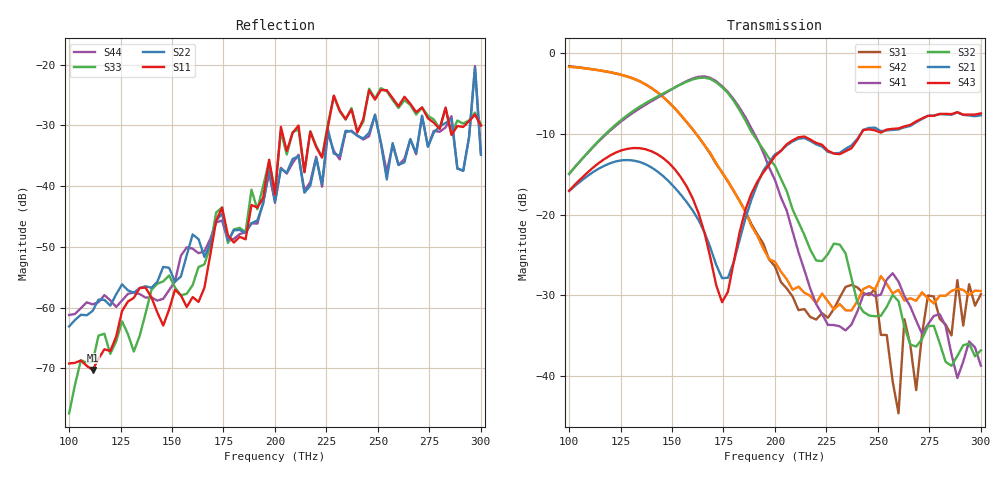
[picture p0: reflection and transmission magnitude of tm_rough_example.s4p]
!This S-parameter file was generated as part of the OIDT. This project was completed as part of research conducted with my major professor and advisor, Prof. Ata Zadehgol, at the Applied and Computational Electromagnetics Signal and Power Integrity (ACEM-SPI) Lab while working toward the Ph.D. in El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
!Created with skrf (http://scikit-rf.org).
# Hz S RI R 50.0
!freq ReS11 ImS11 ReS12 ImS12 ReS13 ImS13
! ReS14 ImS14
! ReS21 ImS21 ReS22 ImS22 ReS23 ImS23
! ReS24 ImS24
! ReS31 ImS31 ReS32 ImS32 ReS33 ImS33
! ReS34 ImS34
! ReS41 ImS41 ReS42 ImS42 ReS43 ImS43
! ReS44 ImS44
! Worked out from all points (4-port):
!   71 points, 100 THz to 300.1 THz, reference 50 ohm
!   strongest paths, dB at 100 THz, 148.6 THz, 200 THz, 251.5 THz, 300.1 THz:
!     S43: -17.0, -13.6, -12.8, -9.9, -7.5
!     S21: -17.1, -15.9, -12.6, -9.7, -7.7
!     S32: -15.0, -4.6, -14.0, -32.5, -36.8
!     S41: -15.0, -4.7, -15.7, -29.9, -38.7
!     S42: -1.7, -6.1, -25.8, -27.6, -29.4
!     S31: -1.7, -6.2, -26.4, -34.9, -29.8
!   lowest |S11| = -70.3 dB at 111.4 THz (marker M1), VSWR 1.00, Z = 50 + j0.0271 ohm
!   |S11| at or under -10 dB: start of sweep to end of sweep
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1.000168e14  -0.000148 0.000313  0.1366 -0.00144  0.8216 -0.0465  0.1637 -0.0017
             0.1397 -0.00255  -0.000108 0.000691  0.1681 -0.00265  0.8206 -0.038
             0.8265 -0.0263  0.1781 -0.00268  -4.24e-05 0.000128  0.1395 -0.00236
             0.1787 -0.00108  0.8184 -0.029  0.1405 -0.000654  -0.000388 0.000777
1.114472e14  -0.000144 0.000271  0.1767 0.000856  0.8222 -0.0375  0.2455 -0.000895
             0.1823 -0.00163  -0.00017 0.000923  0.2547 -0.00366  0.8125 -0.0378
             0.791 -0.00337  0.261 -0.000577  -0.000191 0.000302  0.1939 -0.00243
             0.2595 0.00195  0.7902 -0.00835  0.1942 0.000195  -0.000581 0.000889
1.743149e14  -0.00646 0.00151  0.0206 -0.000175  0.1927 -0.00679  0.6186 0.00287
             0.0405 -0.000101  -0.00511 0.00302  0.6412 0.000433  0.1939 0.00761
             0.1824 -0.0142  0.6134 0.00261  -0.0064 0.0019  0.0362 -0.00185
             0.6221 7.41e-05  0.1816 -0.00501  0.0287 0.000695  -0.00438 0.00282
2.457555e14  -0.0599 0.0132  0.3593 -0.00844  0.0214 0.017  0.0175 0.00211
             0.3435 -0.00541  -0.0262 0.00827  0.0151 -0.00106  0.0261 0.00451
             0.0297 0.0112  0.0238 -0.00042  -0.0618 0.0131  0.3519 -0.00973
             0.0326 -0.00211  0.0332 0.0141  0.3364 -0.00597  -0.0244 0.00817
2.543283e14  -0.0592 0.0168  0.3256 -0.00702  -0.000149 0.00284  0.0461 0.000237
             0.3314 -0.00577  -0.007 0.0089  0.0226 -0.000995  0.0273 -0.00809
             0.0171 -0.0057  0.0269 -0.000172  -0.0579 0.0164  0.3333 -0.0067
             0.0396 -0.00106  0.0369 0.00484  0.3354 -0.00665  -0.00958 0.00892
2.971927e14  -0.0371 0.011  0.3993 -0.00804  0.0203 0.0188  0.0338 -0.000731
             0.4051 -0.0082  -0.0938 0.00628  0.0145 0.000645  0.0283 -0.00231
             0.026 0.00851  0.0133 -0.00011  -0.0387 0.0108  0.4051 -0.00846
             0.0151 0.000183  0.0337 -0.00268  0.4147 -0.00867  -0.0967 0.00653
3.000503e14  -0.0303 0.00835  0.4037 -0.00844  0.024 -0.0154  0.0331 -0.000804
             0.4111 -0.00832  -0.0144 0.0108  0.00992 0.000557  0.0264 0.00881
             0.0317 0.00555  0.0145 -0.000422  -0.0314 0.008  0.4154 -0.00873
             0.0116 -3.37e-05  0.0336 0.003  0.4224 -0.00877  -0.0149 0.0113
